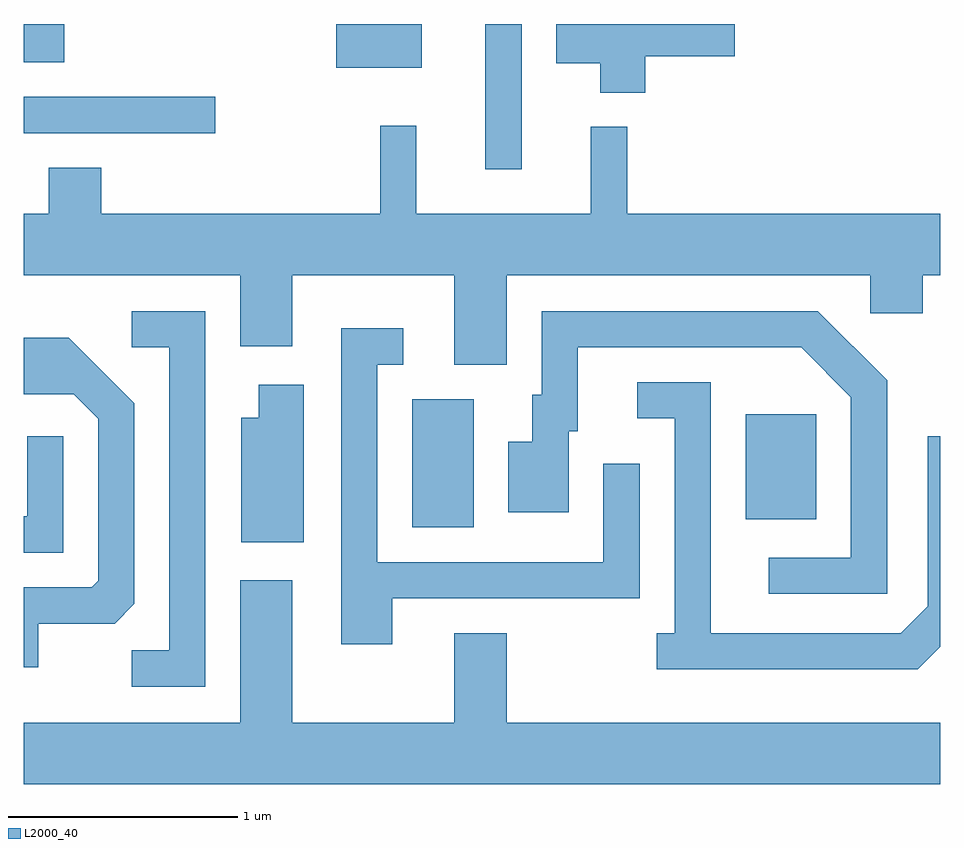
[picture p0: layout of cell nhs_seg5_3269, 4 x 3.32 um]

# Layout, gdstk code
import gdstk
lib = gdstk.Library(unit=1e-6, precision=1e-09)
def R(c, l, rs):  # rectangles x0, y0, x1, y1
    for r in rs: c.add(gdstk.rectangle(r[:2], r[2:], *l))
def P(c, l, *ps):  # polygons
    for p in ps: c.add(gdstk.Polygon(p, *l))
L2000_40 = (2000, 40)

nhs_seg5_3269 = lib.new_cell('nhs_seg5_3269')
R(nhs_seg5_3269, L2000_40, [(283.306,1497.876,283.574,1498.434), (284.761,1497.911,285.069,1498.369), (283.626,1499.438,283.784,1500.072), (281.611,1499.596,282.448,1499.754), (282.976,1499.881,283.349,1500.072), (281.611,1499.906,281.789,1500.072)])
P(nhs_seg5_3269, L2000_40, [(284.324,1499.931),(284.714,1499.931),(284.714,1500.072),(283.936,1500.072),(283.936,1499.901),(284.126,1499.901),(284.126,1499.771),(284.324,1499.771)],
  [(283.719,1498.976),(285.306,1498.976),(285.306,1498.811),(285.534,1498.811),(285.534,1498.976),(285.611,1498.976),(285.611,1499.244),(284.244,1499.244),(284.244,1499.623),(284.086,1499.623),(284.086,1499.244),(283.324,1499.244),(283.324,1499.628),(283.166,1499.628),(283.166,1499.244),(281.949,1499.244),(281.949,1499.444),(281.721,1499.444),(281.721,1499.244),(281.611,1499.244),(281.611,1498.976),(282.556,1498.976),(282.556,1498.666),(282.784,1498.666),(282.784,1498.976),(283.491,1498.976),(283.491,1498.586),(283.719,1498.586)],
  [(285.379,1498.517),(285.077,1498.819),(283.871,1498.819),(283.871,1498.454),(283.831,1498.454),(283.831,1498.249),(283.726,1498.249),(283.726,1497.941),(283.989,1497.941),(283.989,1498.296),(284.029,1498.296),(284.029,1498.661),(285.004,1498.661),(285.221,1498.444),(285.221,1497.744),(284.863,1497.744),(284.863,1497.586),(285.379,1497.586)],
  [(282.404,1498.819),(282.083,1498.819),(282.083,1498.661),(282.246,1498.661),(282.246,1497.339),(282.083,1497.339),(282.083,1497.181),(282.404,1497.181)],
  [(283.219,1497.566),(284.299,1497.566),(284.299,1498.153),(284.141,1498.153),(284.141,1497.724),(283.154,1497.724),(283.154,1498.586),(283.268,1498.586),(283.268,1498.744),(282.996,1498.744),(282.996,1497.366),(283.219,1497.366)],
  [(281.674,1497.456),(282.009,1497.456),(282.094,1497.542),(282.094,1498.417),(281.807,1498.704),(281.611,1498.704),(281.611,1498.456),(281.829,1498.456),(281.936,1498.349),(281.936,1497.642),(281.909,1497.614),(281.611,1497.614),(281.611,1497.266),(281.674,1497.266)],
  [(285.611,1497.355),(285.611,1498.273),(285.556,1498.273),(285.556,1497.532),(285.439,1497.414),(284.609,1497.414),(284.609,1498.509),(284.288,1498.509),(284.288,1498.351),(284.451,1498.351),(284.451,1497.414),(284.373,1497.414),(284.373,1497.256),(285.512,1497.256)],
  [(282.834,1498.499),(282.636,1498.499),(282.636,1498.354),(282.561,1498.354),(282.561,1497.811),(282.834,1497.811)],
  [(281.784,1498.273),(281.626,1498.273),(281.626,1497.924),(281.611,1497.924),(281.611,1497.766),(281.784,1497.766)],
  [(285.611,1497.024),(283.719,1497.024),(283.719,1497.414),(283.491,1497.414),(283.491,1497.024),(282.784,1497.024),(282.784,1497.644),(282.556,1497.644),(282.556,1497.024),(281.611,1497.024),(281.611,1496.756),(285.611,1496.756)])

lib.write_gds('nhs_seg5_3269.gds')
